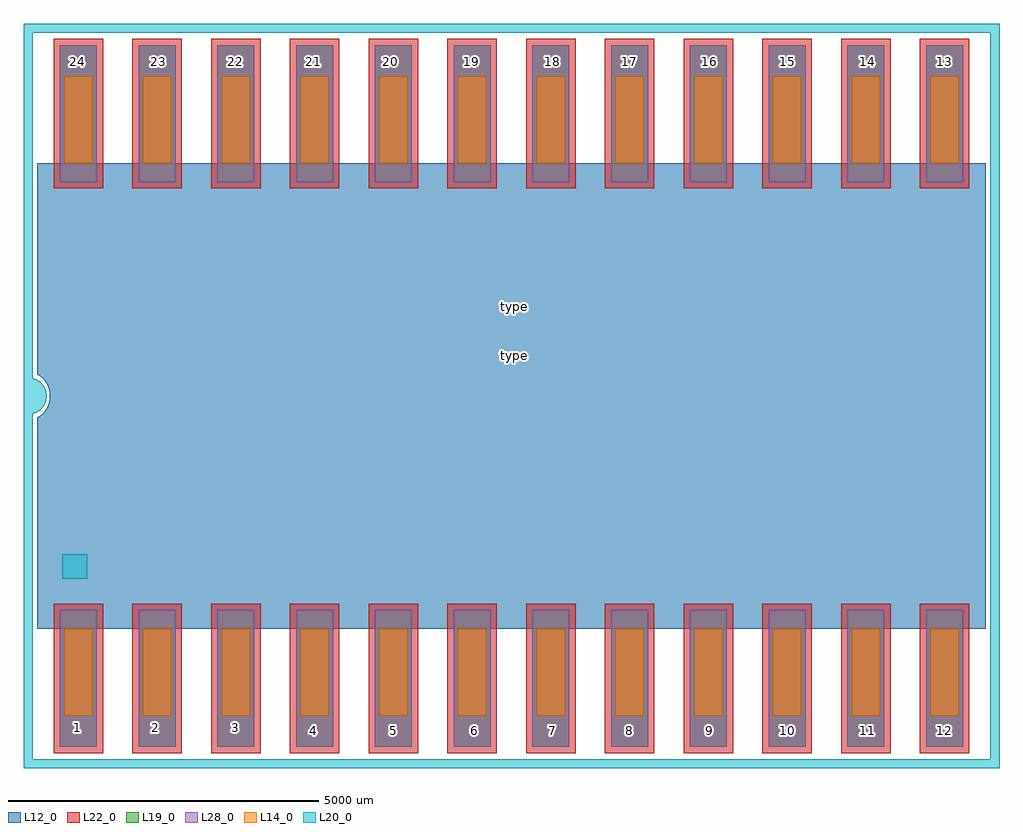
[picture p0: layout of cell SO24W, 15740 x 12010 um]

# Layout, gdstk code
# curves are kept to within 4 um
import gdstk
lib = gdstk.Library(unit=1e-6, precision=1e-09)
def R(c, l, rs):  # rectangles x0, y0, x1, y1
    for r in rs: c.add(gdstk.rectangle(r[:2], r[2:], *l))
def A(c, l, x, y, w, h, nx, ny, dx, dy):  # array of equal rectangles
    R(c, l, [(x+i*dx, y+j*dy, x+i*dx+w, y+j*dy+h) for i in range(nx) for j in range(ny)])
def P(c, l, *ps):  # polygons
    for p in ps: c.add(gdstk.Polygon(p, *l))
L12_0 = (12, 0)
L14_0 = (14, 0)
L19_0 = (19, 0)
L20_0 = (20, 0)
L22_0 = (22, 0)
L28_0 = (28, 0)

so24w = lib.new_cell('SO24W')
P(so24w, L12_0, [(15290.005,7500.005),(0,7500.005),(0,4096.413),(82.843,4032.846),(146.41,3950.003),(186.37,3853.531),(200,3750.003),(186.37,3646.475),(146.41,3550.003),(82.843,3467.16),(0,3403.593),(0,0),(15290.005,0)])
A(so24w, L14_0, 430, -1410, 460, 1410, 12, 2, 1270, 8910)
A(so24w, L19_0, 360, -1910, 600, 2210, 12, 2, 1270, 9110)
R(so24w, L20_0, [(400,800,800,1200)])
P(so24w, L20_0, [(-150,4050),(-150,3450),(-97.906,3454.558),(-47.394,3468.092),(22.073,3504.254),(62.132,3537.868),(95.746,3577.927),(131.908,3647.394),(145.442,3697.906),(150,3750),(145.442,3802.094),(131.908,3852.606),(95.746,3922.073),(62.132,3962.132),(22.073,3995.746),(-47.394,4031.908),(-97.906,4045.442)])
A(so24w, L22_0, 260, -2010, 800, 2410, 12, 2, 1270, 9110)
A(so24w, L28_0, 360, -1910, 600, 2210, 12, 2, 1270, 9110)
so24w.add(gdstk.FlexPath([(-150,9605),(-150,-2180),(15440,-2180),(15440,9680),(-225,9680)], 150, ends="flush", simple_path=True, layer=20, datatype=0))  # L20_0
so24w.add(gdstk.Label('14', (13380,9150), layer=28, texttype=0))
so24w.add(gdstk.Label('13', (14630,9150), layer=28, texttype=0))
so24w.add(gdstk.Label('12', (14630,-1650), layer=28, texttype=0))
so24w.add(gdstk.Label('11', (13380,-1650), layer=28, texttype=0))
so24w.add(gdstk.Label('9', (10840,-1650), layer=28, texttype=0))
so24w.add(gdstk.Label('10', (12090,-1650), layer=28, texttype=0))
so24w.add(gdstk.Label('15', (12090,9150), layer=28, texttype=0))
so24w.add(gdstk.Label('16', (10840,9150), layer=28, texttype=0))
so24w.add(gdstk.Label('24', (650,9150), layer=28, texttype=0))
so24w.add(gdstk.Label('23', (1950,9150), layer=28, texttype=0))
so24w.add(gdstk.Label('22', (3200,9150), layer=28, texttype=0))
so24w.add(gdstk.Label('21', (4450,9150), layer=28, texttype=0))
so24w.add(gdstk.Label('20', (5700,9150), layer=28, texttype=0))
so24w.add(gdstk.Label('19', (7000,9150), layer=28, texttype=0))
so24w.add(gdstk.Label('18', (8300,9150), layer=28, texttype=0))
so24w.add(gdstk.Label('17', (9550,9150), layer=28, texttype=0))
so24w.add(gdstk.Label('8', (9550,-1650), layer=28, texttype=0))
so24w.add(gdstk.Label('7', (8300,-1650), layer=28, texttype=0))
so24w.add(gdstk.Label('6', (7050,-1650), layer=28, texttype=0))
so24w.add(gdstk.Label('5', (5750,-1650), layer=28, texttype=0))
so24w.add(gdstk.Label('4', (4450,-1650), layer=28, texttype=0))
so24w.add(gdstk.Label('3', (3200,-1600), layer=28, texttype=0))
so24w.add(gdstk.Label('2', (1900,-1600), layer=28, texttype=0))
so24w.add(gdstk.Label('1', (650,-1600), layer=28, texttype=0))
so24w.add(gdstk.Label('type', (7700,4400), layer=10, texttype=0))
so24w.add(gdstk.Label('type', (7700,5200), layer=20, texttype=0))
so24w.add(gdstk.Label('devicename', (-700,4200), layer=20, texttype=0))

lib.write_gds('SO24W.gds')
